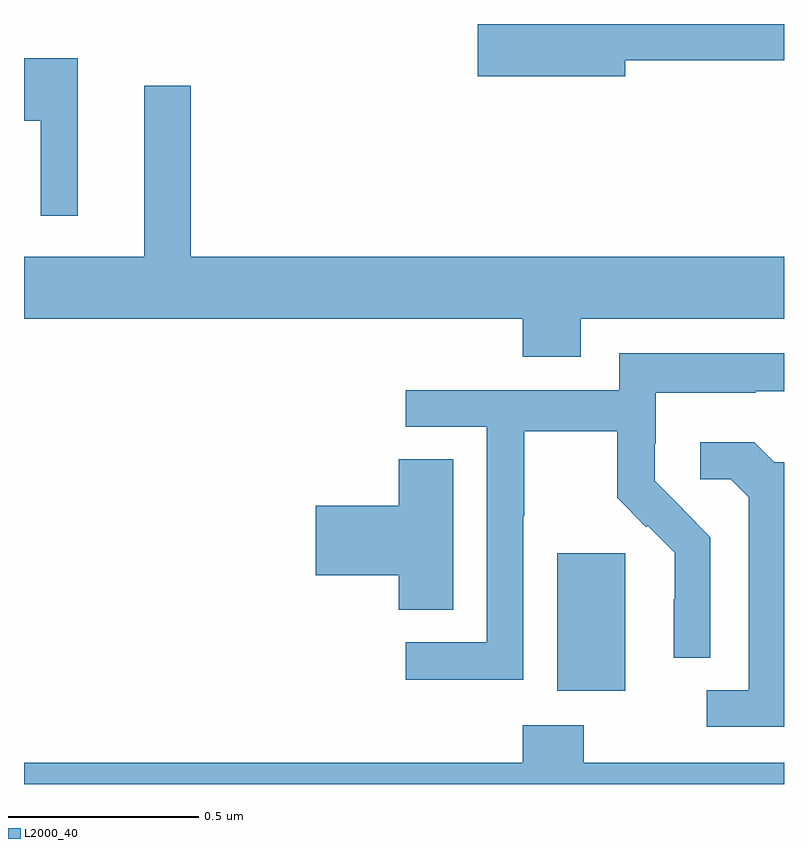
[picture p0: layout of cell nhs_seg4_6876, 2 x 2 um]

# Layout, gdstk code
import gdstk
lib = gdstk.Library(unit=1e-6, precision=1e-09)
def R(c, l, rs):  # rectangles x0, y0, x1, y1
    for r in rs: c.add(gdstk.rectangle(r[:2], r[2:], *l))
def P(c, l, *ps):  # polygons
    for p in ps: c.add(gdstk.Polygon(p, *l))
L2000_40 = (2000, 40)

nhs_seg4_6876 = lib.new_cell('nhs_seg4_6876')
R(nhs_seg4_6876, L2000_40, [(196.403,825.146,196.582,825.507)])
P(nhs_seg4_6876, L2000_40, [(196.582,826.804),(197,826.804),(197,826.9),(196.194,826.9),(196.194,826.762),(196.582,826.762)],
  [(195.142,826.81),(195,826.81),(195,826.646),(195.044,826.646),(195.044,826.395),(195.142,826.395)],
  [(196.465,826.124),(197,826.124),(197,826.288),(195.439,826.288),(195.439,826.738),(195.317,826.738),(195.317,826.288),(195,826.288),(195,826.124),(196.313,826.124),(196.313,826.025),(196.465,826.025)],
  [(196.314,825.604),(196.317,825.604),(196.317,825.828),(196.561,825.828),(196.561,825.653),(196.638,825.576),(196.641,825.579),(196.712,825.509),(196.712,825.386),(196.71,825.386),(196.71,825.232),(196.806,825.232),(196.806,825.55),(196.733,825.623),(196.734,825.624),(196.66,825.698),(196.66,825.795),(196.662,825.795),(196.662,825.929),(196.925,825.929),(196.925,825.933),(197,825.933),(197,826.033),(196.566,826.033),(196.566,825.936),(196.005,825.936),(196.005,825.84),(196.218,825.84),(196.218,825.273),(196.005,825.273),(196.005,825.175),(196.314,825.175)],
  [(197,825.747),(196.974,825.747),(196.922,825.799),(196.779,825.799),(196.779,825.702),(196.86,825.702),(196.907,825.655),(196.907,825.147),(196.797,825.147),(196.797,825.051),(197,825.051)],
  [(196.129,825.755),(195.986,825.755),(195.986,825.632),(195.768,825.632),(195.768,825.449),(195.986,825.449),(195.986,825.358),(196.129,825.358)],
  [(197,824.956),(196.473,824.956),(196.473,825.055),(196.313,825.055),(196.313,824.956),(195,824.956),(195,824.9),(197,824.9)])

lib.write_gds('nhs_seg4_6876.gds')
